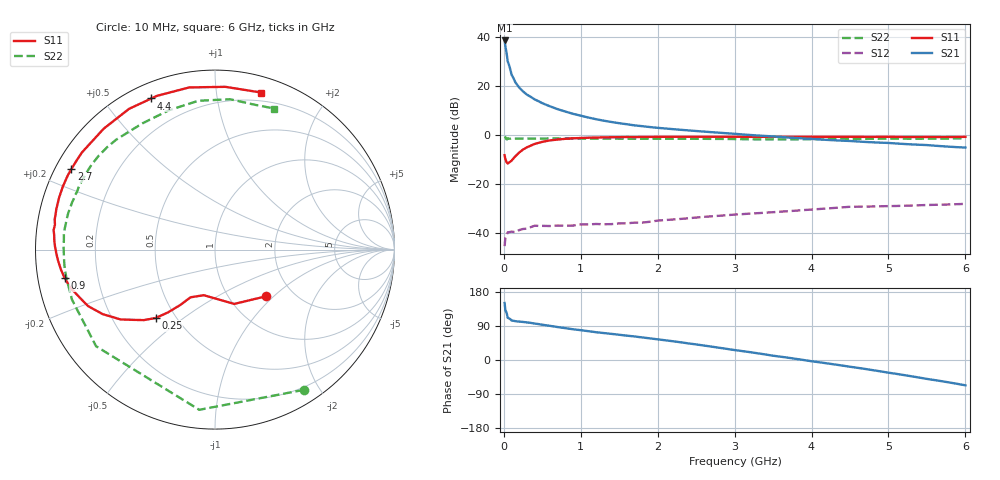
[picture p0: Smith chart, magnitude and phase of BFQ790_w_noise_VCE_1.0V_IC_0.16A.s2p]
! (c) 2015  Infineon Technologies AG, Munich
! Infineon Technologies  Discrete & RF Semiconductors
! BFQ790
! VCE =  1.0 V,  IC = 0.16 A
! Common Emitter S-Parameters:  May 2015
# GHz  S  MA  R  50
!  f  S11  S21  S12  S22
! GHz  MAG  ANG  MAG  ANG  MAG  ANG  MAG  ANG
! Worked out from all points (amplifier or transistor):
!   77 points, 10 MHz to 6 GHz, reference 50 ohm
!   highest |S21| = 38.5 dB at 10 MHz (marker M1)
!   |S21| within 3 dB of that: start of sweep to 23.36 MHz
!   unconditionally stable (mu >= 1): 248.6 MHz to 389.2 MHz; 421.2 MHz to end of sweep
!   at 130 MHz: K = 0.76, MSG = 31.2 dB, |S12| = -39.6 dB
!   at 2.2 GHz: K = 1.28, MAG = 15.2 dB, |S12| = -34.5 dB
!   at 6 GHz: K = 1.17, MAG = 9.0 dB, |S12| = -28.1 dB
!   lowest NFmin = 3.03 dB at 1.5 GHz
!   S11 on the Smith chart (normalised r, x): 10 MHz: 1.47, -0.90; 250 MHz: 0.39, -0.40; 900 MHz: 0.08, -0.09; 2.7 GHz: 0.05, +0.26; 4.4 GHz: 0.06, +0.66; 6 GHz: 0.13, +1.33
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0.01  0.3865 -42.2  84.17 150.4  0.0054 58.6  0.9253 -57.6
0.02  0.3211 -70.5  63.58 131.4  0.008 42.6  0.8969 -95.6
0.05  0.2616 -103.7  31.68 111.4  0.0103 21.5  0.8538 -140.9
0.1  0.2985 -117.1  16.92 104.3  0.0107 15.2  0.8442 -160.7
0.15  0.3658 -122.2  11.79 102.4  0.0104 15.7  0.8426 -168.5
0.2  0.4369 -126.8  9.226 101.3  0.0115 17.6  0.8443 -172.6
0.25  0.504 -130.9  7.688 100.4  0.0121 14.2  0.8429 -175.5
0.3  0.5586 -135.3  6.621 99.2  0.0123 14.3  0.8426 -177.7
0.4  0.6543 -143.5  5.304 96.2  0.0141 13.4  0.8436 178.9
0.5  0.7216 -150.1  4.432 93.1  0.014 10.3  0.8437 176.4
0.6  0.7739 -156.0  3.823 90.1  0.0139 11.4  0.8462 174.2
0.7  0.8032 -161.0  3.345 86.9  0.0142 11.5  0.8456 172.1
0.9  0.8527 -169.4  2.688 81.1  0.0142 8.7  0.8435 168.8
1.1  0.8762 -175.9  2.257 76.0  0.015 10.3  0.8425 165.7
1.5  0.8996 174.9  1.732 66.6  0.0157 12.3  0.836 160.0
2.1  0.9134 163.6  1.351 52.0  0.0184 11.5  0.8338 151.0
2.7  0.9171 150.8  1.137 35.3  0.0219 7.0  0.8299 138.9
3.1  0.9147 141.6  1.024 23.5  0.0243 2.0  0.8182 129.5
4.1  0.9156 119.3  0.81 -6.0  0.0309 -13.4  0.8182 105.9
4.4  0.9137 112.8  0.763 -14.7  0.0334 -18.7  0.8282 98.7
5.1  0.9101 96.6  0.669 -36.5  0.0356 -33.7  0.8389 82.3
6  0.9122 73.6  0.553 -66.8  0.0393 -54.7  0.8525 67.2
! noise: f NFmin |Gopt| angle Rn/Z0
0.45  4.92  0.45  139  0.47
0.9  3.45  0.58  167  0.16
1.5  3.03  0.69  -173  0.08
1.8  3.11  0.7  -167  0.1
2.6  3.41  0.73  -152  0.23
3.5  3.96  0.84  -136  0.51
